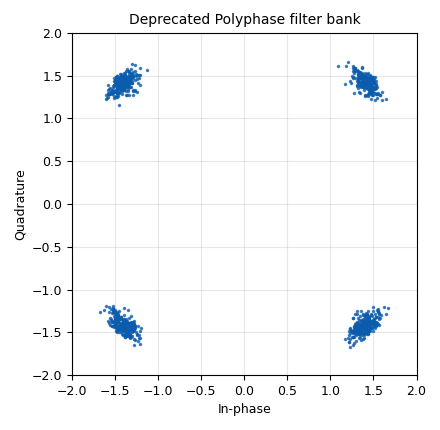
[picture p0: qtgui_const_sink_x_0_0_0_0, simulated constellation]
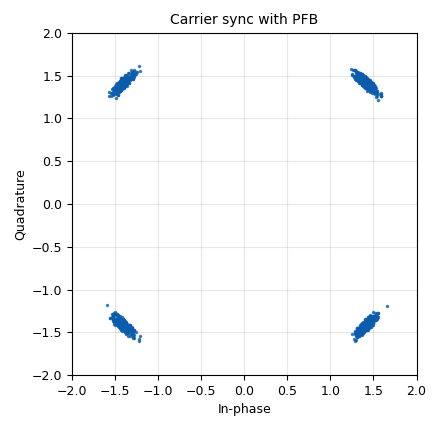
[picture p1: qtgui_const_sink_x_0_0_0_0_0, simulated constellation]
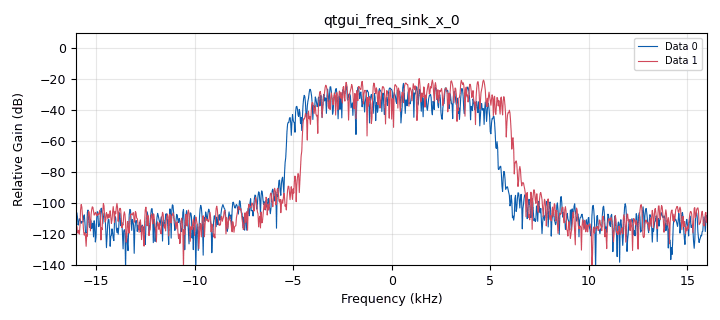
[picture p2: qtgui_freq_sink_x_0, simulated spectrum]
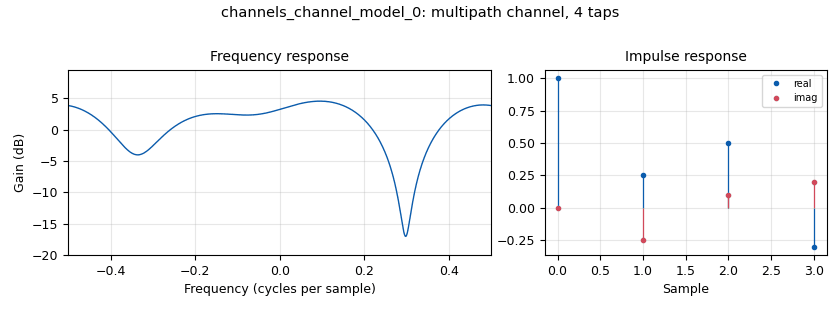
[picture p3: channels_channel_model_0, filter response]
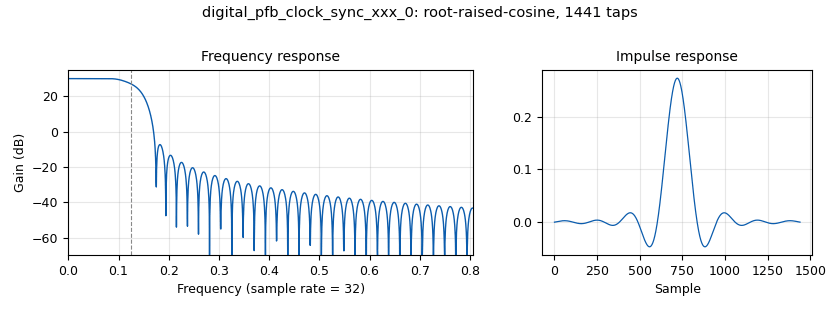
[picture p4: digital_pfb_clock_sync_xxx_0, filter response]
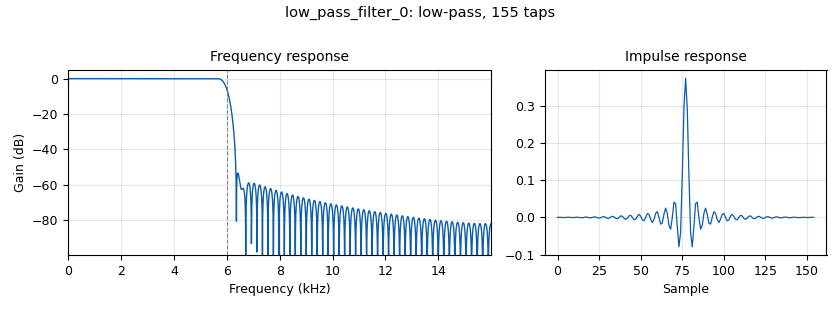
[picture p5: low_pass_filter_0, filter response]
options:
  parameters:
    author: engineerang
    generate_options: qt_gui
    id: mpsk_course_correction
    output_language: python
    title: Not titled yet
  states: {}

blocks:
- name: arity
  id: variable
  parameters:
    value: '4'
  states: {}
- name: excess_bw
  id: variable
  parameters:
    value: '00.35'
  states: {}
- name: freq_offset
  id: variable_qtgui_range
  parameters:
    label: 'Channel: Frequency Offset'
    start: '-0.5'
    step: '0.001'
    stop: '0.5'
    value: '.025'
  states: {}
- name: nfilts
  id: variable
  parameters:
    value: '32'
  states: {}
- name: noise_volt
  id: variable_qtgui_range
  parameters:
    label: 'Channel: Noise Voltage'
    start: '0'
    step: '0.01'
    stop: '1'
    value: '0.0001'
  states: {}
- name: rrc_taps
  id: variable
  parameters:
    value: firdes.root_raised_cosine(nfilts, nfilts, 1.0/float(sps), 0.35, 45*nfilts)
  states: {}
- name: samp_rate
  id: variable
  parameters:
    value: '32000'
  states: {}
- name: sps
  id: variable
  parameters:
    value: '4'
  states: {}
- name: taps
  id: variable
  parameters:
    value: '[1.0, 0.25-0.25j, 0.50 + 0.10j, -0.3 + 0.2j]'
  states: {}
- name: time_offset
  id: variable_qtgui_range
  parameters:
    label: 'Channel: Timing Offset '
    start: '0.999'
    step: '0.0001'
    stop: '1.001'
    value: '1.000'
  states: {}
- name: timing_loop_bw
  id: variable_qtgui_range
  parameters:
    label: 'Time: BW'
    start: '0'
    step: '0.01'
    stop: '0.2'
    value: '0.0628'
  states: {}
- name: variable_adaptive_algorithm_0
  id: variable_adaptive_algorithm
  parameters:
    cons: variable_constellation_rect_0
    modulus: '4'
    step_size: '0.0001'
    type: cma
  states: {}
- name: variable_adaptive_algorithm_0_0
  id: variable_adaptive_algorithm
  parameters:
    cons: variable_constellation_rect_0
    modulus: '4'
    step_size: '0.0001'
    type: cma
  states: {}
- name: variable_constellation_rect_0
  id: variable_constellation_rect
  parameters:
    const_points: '[-0.707-0.707j, -0.707+0.707j, 0.707+0.707j, 0.707-0.707j]'
    imag_sect: '2'
    real_sect: '2'
    rot_sym: '4'
    sym_map: '[0, 1, 3, 2]'
    w_imag_sect: '1'
    w_real_sect: '1'
  states: {}
- name: analog_random_source_x_0
  id: analog_random_source_x
  parameters:
    max: '256'
    min: '0'
    num_samps: '10000'
    repeat: 'True'
    type: byte
  states: {}
- name: blocks_throttle_0
  id: blocks_throttle
  parameters:
    samples_per_second: samp_rate
    type: complex
  states: {}
- name: channels_channel_model_0
  id: channels_channel_model
  parameters:
    epsilon: time_offset
    freq_offset: freq_offset
    noise_voltage: noise_volt
    seed: '0'
    taps: taps
  states: {}
- name: digital_constellation_modulator_0
  id: digital_constellation_modulator
  parameters:
    constellation: variable_constellation_rect_0
    differential: 'True'
    excess_bw: excess_bw
    samples_per_symbol: '4'
  states: {}
- name: digital_costas_loop_cc_0
  id: digital_costas_loop_cc
  parameters:
    order: '4'
    w: timing_loop_bw
  states: {}
- name: digital_costas_loop_cc_0_0
  id: digital_costas_loop_cc
  parameters:
    order: '4'
    w: timing_loop_bw
  states: {}
- name: digital_fll_band_edge_cc_0
  id: digital_fll_band_edge_cc
  parameters:
    filter_size: '32'
    rolloff: excess_bw
    samps_per_sym: '4.004'
    type: cc
    w: timing_loop_bw
  states: {}
- name: digital_linear_equalizer_0
  id: digital_linear_equalizer
  parameters:
    alg: variable_adaptive_algorithm_0
    num_taps: '15'
    sps: '2'
  states: {}
- name: digital_linear_equalizer_0_0
  id: digital_linear_equalizer
  parameters:
    alg: variable_adaptive_algorithm_0
    num_taps: '15'
    sps: '2'
  states: {}
- name: digital_pfb_clock_sync_xxx_0
  id: digital_pfb_clock_sync_xxx
  parameters:
    filter_size: nfilts
    init_phase: '16'
    loop_bw: timing_loop_bw
    max_dev: '1.5'
    osps: '1'
    sps: '4.004'
    taps: rrc_taps
    type: ccf
  states: {}
- name: digital_symbol_sync_xx_0
  id: digital_symbol_sync_xx
  parameters:
    constellation: digital.constellation_qpsk().base()
    damping: '1.0'
    loop_bw: '0.001'
    max_dev: '0.01'
    nfilters: '32'
    osps: '1'
    pfb_mf_taps: rrc_taps
    resamp_type: digital.IR_PFB_MF
    sps: sps
    ted_gain: '1.0'
    ted_type: digital.TED_GARDNER
    type: cc
  states: {}
- name: low_pass_filter_0
  id: low_pass_filter
  parameters:
    cutoff_freq: '6000'
    decim: '1'
    gain: '1'
    samp_rate: samp_rate
    type: fir_filter_ccf
    width: '500'
    win: window.WIN_HAMMING
  states: {}
- name: qtgui_const_sink_x_0_0_0_0
  id: qtgui_const_sink_x
  parameters:
    gui_hint: 0,0,1,1
    name: '"Deprecated Polyphase filter bank"'
    size: '1024'
    type: complex
  states: {}
- name: qtgui_const_sink_x_0_0_0_0_0
  id: qtgui_const_sink_x
  parameters:
    gui_hint: 0,1,1,1
    name: '"Carrier sync with PFB"'
    size: '1024'
    type: complex
  states: {}
- name: qtgui_freq_sink_x_0
  id: qtgui_freq_sink_x
  parameters:
    bw: samp_rate
    fc: '0'
    fftsize: '1024'
    nconnections: '2'
    type: complex
  states: {}
- name: virtual_sink_0
  id: virtual_sink
  parameters:
    stream_id: tx
  states: {}
- name: virtual_source_0
  id: virtual_source
  parameters:
    stream_id: tx
  states: {}

connections:
- [analog_random_source_x_0, '0', digital_constellation_modulator_0, '0']
- [blocks_throttle_0, '0', channels_channel_model_0, '0']
- [channels_channel_model_0, '0', qtgui_freq_sink_x_0, '1']
- [channels_channel_model_0, '0', virtual_sink_0, '0']
- [digital_constellation_modulator_0, '0', blocks_throttle_0, '0']
- [digital_constellation_modulator_0, '0', qtgui_freq_sink_x_0, '0']
- [digital_costas_loop_cc_0, '0', qtgui_const_sink_x_0_0_0_0, '0']
- [digital_costas_loop_cc_0_0, '0', qtgui_const_sink_x_0_0_0_0_0, '0']
- [digital_fll_band_edge_cc_0, '0', low_pass_filter_0, '0']
- [digital_linear_equalizer_0, '0', digital_costas_loop_cc_0, '0']
- [digital_linear_equalizer_0_0, '0', digital_costas_loop_cc_0_0, '0']
- [digital_pfb_clock_sync_xxx_0, '0', digital_linear_equalizer_0, '0']
- [digital_symbol_sync_xx_0, '0', digital_linear_equalizer_0_0, '0']
- [low_pass_filter_0, '0', digital_pfb_clock_sync_xxx_0, '0']
- [low_pass_filter_0, '0', digital_symbol_sync_xx_0, '0']
- [virtual_source_0, '0', digital_fll_band_edge_cc_0, '0']

metadata:
  file_format: 1
